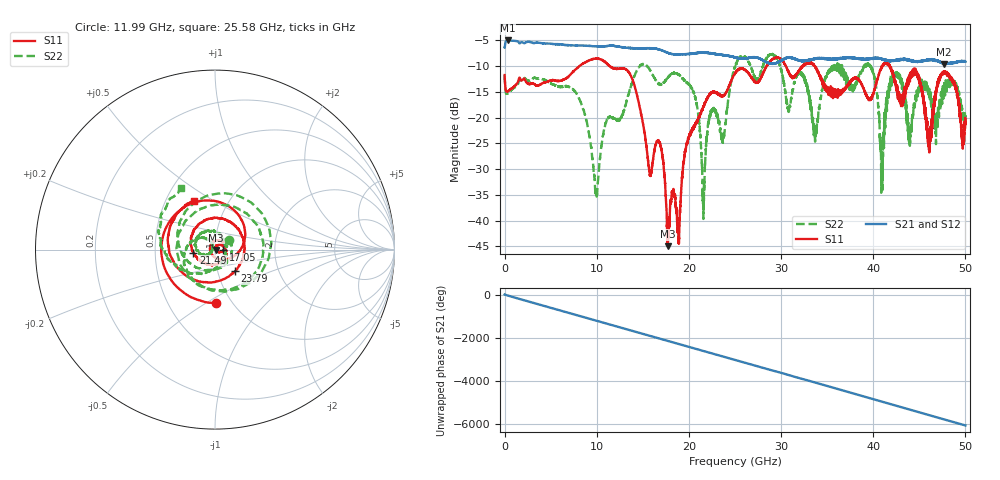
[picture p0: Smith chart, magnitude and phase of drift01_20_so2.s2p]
!Created with skrf (http://scikit-rf.org).
# Hz S RI R 50.0
!freq ReS11 ImS11 ReS21 ImS21 ReS12 ImS12 ReS22 ImS22
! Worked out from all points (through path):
!   10001 points, 300 kHz to 50 GHz, reference 50 ohm
!   highest |S21| = -5.05 dB at 325.3 MHz (marker M1); lowest = -9.7 dB at 47.71 GHz (marker M2)
!   group delay of S21, straight-line fit = 336 ps
!   lowest |S11| = -44.9 dB at 17.69 GHz (marker M3), VSWR 1.01, Z = 50.5 - j0.148 ohm
!   |S11| at or under -10 dB: start of sweep to 8.151 GHz; 11.4 GHz to 28.44 GHz (17.04 GHz wide, 85.6 % of centre); 41.8 GHz to end of sweep (the widest 3 of 15)
!   |S22| runs from -39.7 to -7.7 dB; largest |S21 - S12| = 0.012
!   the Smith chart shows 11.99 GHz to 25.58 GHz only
!   S11 on the Smith chart (normalised r, x): 11.99 GHz: 0.84, -0.55; 17.05 GHz: 1.10, -0.01; 21.49 GHz: 0.79, -0.03; 23.79 GHz: 1.21, -0.30; 25.58 GHz: 0.69, +0.41
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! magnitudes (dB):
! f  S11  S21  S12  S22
! 300 kHz  -11.8  -6.4  -6.5  -11.8
! 325.3 MHz  -14.9  -5.1  -5.1  -15.4
! 8.335 GHz  -9.8  -6.0  -6.0  -17.5
! 9.935 GHz  -8.6  -6.2  -6.2  -34.8
! 11.99 GHz  -10.5  -6.1  -6.1  -20.4
! 15.77 GHz  -31.1  -6.6  -6.6  -10.8
! 16.67 GHz  -24.4  -6.8  -6.8  -13.4
! 17.05 GHz  -26.5  -7.0  -7.0  -13.6
! 17.69 GHz  -44.9  -7.4  -7.4  -12.3
! 20.5 GHz  -22.1  -7.6  -7.6  -15.0
! 21.49 GHz  -18.3  -7.4  -7.4  -34.8
! 22.45 GHz  -15.1  -7.5  -7.5  -18.6
! 23.79 GHz  -15.7  -7.9  -7.9  -23.4
! 25 GHz  -11.4  -8.3  -8.4  -10.2
! 25.58 GHz  -10.6  -8.6  -8.6  -8.2
! 33.34 GHz  -9.5  -8.7  -8.7  -19.6
! 39.51 GHz  -16.5  -8.6  -8.6  -10.0
! 40.95 GHz  -10.2  -8.7  -8.6  -29.2
! 41.67 GHz  -9.7  -8.9  -9.0  -14.9
! 46.1 GHz  -25.6  -8.8  -8.8  -15.4
! 47.71 GHz  -11.3  -9.7  -9.6  -13.4
! 50 GHz  -21.0  -9.2  -9.1  -20.1
